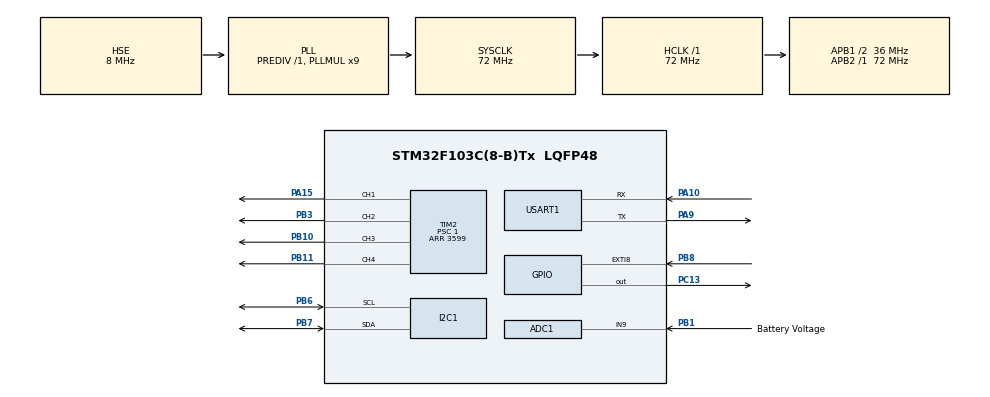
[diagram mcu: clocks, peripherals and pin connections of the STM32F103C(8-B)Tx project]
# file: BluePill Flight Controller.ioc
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Mcu.Family=STM32F1
RCC.PLLSourceVirtual=RCC_PLLSOURCE_HSE
ADC1.AWD1LowThreshold=2923
NVIC.ADC1_2_IRQn=true\:0\:0\:false\:false\:true\:true\:true
TIM2.Channel-PWM\ Generation4\ CH4=TIM_CHANNEL_4
PD1-OSC_OUT.Mode=HSE-External-Oscillator
PA10.Mode=Asynchronous
ADC1.ContinuousConvMode=ENABLE
PC13-TAMPER-RTC.Signal=GPIO_Output
PD0-OSC_IN.Signal=RCC_OSC_IN
TIM2.Channel-PWM\ Generation2\ CH2=TIM_CHANNEL_2
RCC.APB1CLKDivider=RCC_HCLK_DIV2
PB11.Signal=S_TIM2_CH4
RCC.SYSCLKSource=RCC_SYSCLKSOURCE_PLLCLK
ProjectManager.StackSize=0x400
PD1-OSC_OUT.Signal=RCC_OSC_OUT
RCC.ADCPresc=RCC_ADCPCLK2_DIV8
PA13.Signal=SYS_JTMS-SWDIO
SH.S_TIM2_CH2.0=TIM2_CH2,PWM Generation2 CH2
PA9.Mode=Asynchronous
ADC1.Channel-5\#ChannelRegularConversion=ADC_CHANNEL_9
ProjectManager.TargetToolchain=STM32CubeIDE
I2C1.I2C_Mode=I2C_Fast
RCC.HCLKFreq_Value=72000000
RCC.APB2TimFreq_Value=72000000
PA9.Signal=USART1_TX
PB6.Signal=I2C1_SCL
PB6.Mode=I2C
RCC.USBFreq_Value=72000000
RCC.AHBFreq_Value=72000000
PD0-OSC_IN.Mode=HSE-External-Oscillator
PB10.Signal=S_TIM2_CH3
board=custom
RCC.PLLMUL=RCC_PLL_MUL9
ADC1.EnableAnalogWatchDog=true
RCC.APB2Freq_Value=72000000
ADC1.AWD1ITMode=ENABLE
PC13-TAMPER-RTC.PinState=GPIO_PIN_RESET
ADC1.AWD1HighThreshold=4095
VP_TIM2_VS_ClockSourceINT.Mode=Internal
SH.S_TIM2_CH3.0=TIM2_CH3,PWM Generation3 CH3
PA14.Mode=Serial_Wire
PB1.GPIO_Label=Battery Voltage
TIM2.Channel-PWM\ Generation3\ CH3=TIM_CHANNEL_3
PB7.Signal=I2C1_SDA
TIM2.Channel-PWM\ Generation1\ CH1=TIM_CHANNEL_1
TIM2.Period=3599
PC13-TAMPER-RTC.GPIO_Speed=GPIO_SPEED_FREQ_LOW
ADC1.NbrOfConversion=1
PA13.Mode=Serial_Wire
Mcu.Name=STM32F103C(8-B)Tx
ADC1.ExternalTrigConv=ADC_SOFTWARE_START
PB3.Signal=S_TIM2_CH2
RCC.SYSCLKFreq_VALUE=72000000
PC13-TAMPER-RTC.GPIO_ModeDefaultOutputPP=GPIO_MODE_OUTPUT_PP
Mcu.Package=LQFP48
TIM2.Prescaler=1
PB1.Signal=ADCx_IN9
ADC1.master=1
NVIC.TimeBase=TIM4_IRQn
RCC.EnbaleCSS=true
PC13-TAMPER-RTC.GPIO_PuPd=GPIO_NOPULL
USART1.VirtualMode=VM_ASYNC
PB7.Mode=I2C
SH.S_TIM2_CH1_ETR.0=TIM2_CH1,PWM Generation1 CH1
NVIC.TimeBaseIP=TIM4
PA10.Signal=USART1_RX
PA14.Signal=SYS_JTCK-SWCLK
PA15.Signal=S_TIM2_CH1_ETR
ProjectManager.HeapSize=0x200
SH.S_TIM2_CH4.0=TIM2_CH4,PWM Generation4 CH4
VP_SYS_VS_tim4.Mode=TIM4
SH.ADCx_IN9.0=ADC1_IN9,IN9
ADC1.SamplingTime-5\#ChannelRegularConversion=ADC_SAMPLETIME_239CYCLES_5
ADC1.WatchdogChannel=ADC_CHANNEL_9
NVIC.PriorityGroup=NVIC_PRIORITYGROUP_4
ADC1.NbrOfConversionFlag=1
ADC1.EnableRegularConversion=ENABLE
RCC.APB1TimFreq_Value=72000000
PB8.Signal=GPXTI8
TIM2.AutoReloadPreload=TIM_AUTORELOAD_PRELOAD_ENABLE
NVIC.TIM4_IRQn=true\:0\:0\:false\:false\:true\:false\:true
RCC.APB1Freq_Value=36000000
ADC1.Rank-5\#ChannelRegularConversion=1

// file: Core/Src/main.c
/* USER CODE BEGIN Header */
/**
  ******************************************************************************
  * @file           : main.c
  * @brief          : Main program body
  ******************************************************************************
  * @attention
  *
  * <h2><center>&copy; Copyright (c) 2020 STMicroelectronics.
  * All rights reserved.</center></h2>
  *
  * This software component is licensed by ST under BSD 3-Clause license,
  * the "License"; You may not use this file except in compliance with the
  * License. You may obtain a copy of the License at:
  *                        opensource.org/licenses/BSD-3-Clause
  *
  ******************************************************************************
  */
/* USER CODE END Header */

#include "main.h"

/* USER CODE BEGIN Includes */
#include "MPU9250.h"
#include "mpu_porting_api.h"

#include "bmp280.h"
#include "bmp_porting_api.h"

//#define UART_DEBUGGING
#ifdef UART_DEBUGGING
#include <stdio.h>
#endif
/* USER CODE END Includes */

/* USER CODE BEGIN PTD */
struct control_variables {
	float p_c, i_c, d_c; 	// PID constants
	float output = 0, integral = 0, derivative = 0, bias = 0;
	float error = 0;
	float error_prior = 0, integral_prior = 0;
	float current_state, commanded_state = 0;
	uint8_t clamp;
};
/* USER CODE END PTD */

/* USER CODE BEGIN PD */
#define ALTP						(1)
#define ALTI						(0)
#define ALTD						(0)

#define YAWP						(1)
#define YAWI						(0)
#define YAWD						(0)

#define PITCHP					(1)
#define PITCHI					(0)
#define PITCHD					(0)

#define ROLLP						(1)
#define ROLLI						(0)
#define ROLLD						(0)
/* USER CODE END PD */

ADC_HandleTypeDef hadc1;

I2C_HandleTypeDef hi2c1;

TIM_HandleTypeDef htim2;

UART_HandleTypeDef huart1;

/* USER CODE BEGIN PV */
uint8_t battery_low = 0;
float battery_voltage;
/* USER CODE END PV */

void SystemClock_Config(void);
static void MX_GPIO_Init(void);
static void MX_TIM2_Init(void);
static void MX_I2C1_Init(void);
static void MX_USART1_UART_Init(void);
static void MX_ADC1_Init(void);
/* USER CODE BEGIN PFP */
void UpdateMotorSpeeds(struct control_variables *altitude, struct control_variables *yaw, struct control_variables *pitch, struct control_variables *roll);
void CalculatePIDControlOutput(struct control_variables *ctrl, int iteration_time);

void HAL_ADC_LevelOutOfWindowCallback(ADC_HandleTypeDef* hadc);
/* USER CODE END PFP */

/* USER CODE BEGIN 0 */
char log_buffer[128];
/* USER CODE END 0 */

int main(void)
{
  /* USER CODE BEGIN 1 */
	MPU9250 mpu9250;
  /* USER CODE END 1 */

  /* MCU Configuration--------------------------------------------------------*/

  /* Reset of all peripherals, Initializes the Flash interface and the Systick. */
  HAL_Init();

  /* Configure the system clock */
  SystemClock_Config();

  /* Initialize all configured peripherals */
  MX_GPIO_Init();
  MX_TIM2_Init();
  MX_I2C1_Init();
  MX_USART1_UART_Init();
  MX_ADC1_Init();
  /* USER CODE BEGIN 2 */

#ifdef UART_DEBUGGING
  sprintf(log_buffer, "Power on\r\n");
  ConsoleLog(log_buffer);
#endif
  HAL_Delay(1000);
  uint8_t whoami = mpu9250.readByte(MPU9250_ADDRESS, WHO_AM_I_MPU9250);  // Read WHO_AM_I register for MPU-9250

  if (whoami == 0x71)
  {
  	mpu9250.resetMPU9250();
		mpu9250.calibrateMPU9250(gyroBias, accelBias);
		wait(2);
		mpu9250.initMPU9250();
		mpu9250.initAK8963(magCalibration);
		wait(2);
  }
  else
  {
  	while(1);
  }

  mpu9250.getAres(); // Get accelerometer sensitivity
	mpu9250.getGres(); // Get gyro sensitivity
	mpu9250.getMres(); // Get magnetometer sensitivity
	magbias[0] = +470.;  // User environmental x-axis correction in milliGauss, should be automatically calculated
	magbias[1] = +120.;  // User environmental x-axis correction in milliGauss
	magbias[2] = +125.;  // User environmental x-axis correction in milliGauss

	struct bmp280_dev bmp;
	struct bmp280_config conf;
	struct bmp280_uncomp_data ucomp_data;
	float altitude, altitudeOffset;
	uint32_t pres32;
	int32_t temp;

	/* Map the delay function pointer with the function responsible for implementing the delay */
	bmp.delay_ms = BMP_delay_ms;

	/* Assign device I2C address based on the status of SDO pin (GND for PRIMARY(0x76) & VDD for SECONDARY(0x77)) */
	bmp.dev_id = BMP280_I2C_ADDR_PRIM << 1;

	/* Select the interface mode as I2C */
	bmp.intf = BMP280_I2C_INTF;

	/* Map the I2C read & write function pointer with the functions responsible for I2C bus transfer */
	bmp.read = BMP_i2c_reg_read;
	bmp.write = BMP_i2c_reg_write;

	bmp280_init(&bmp);

	/* Always read the current settings before writing, especially when
	 * all the configuration is not modified
	 */
	bmp280_get_config(&conf, &bmp);

	conf.filter = BMP280_FILTER_COEFF_16;
	conf.os_pres = BMP280_OS_16X;
	conf.os_temp = BMP280_OS_4X;
	conf.odr = BMP280_ODR_0_5_MS;

	bmp280_set_config(&conf, &bmp);
	bmp280_set_power_mode(BMP280_NORMAL_MODE, &bmp);

	altitudeOffset = 0.0;

	HAL_Delay(1000);

	// Determine the altitude offset
	for (int i = 0; i < 100; i ++)
	{
		bmp280_get_uncomp_data(&ucomp_data, &bmp);
		bmp280_get_comp_temp_32bit(&temp, ucomp_data.uncomp_temp, &bmp);
		bmp280_get_comp_pres_64bit(&pres32, ucomp_data.uncomp_press, &bmp);

		altitudeOffset += 44330 * (1.0 - pow((float)(pres32 >> 8) / 1006.1, 0.1903)) * 3.28084;
	}

	altitudeOffset /= 100;
  /* USER CODE END 2 */

  /* Infinite loop */
  /* USER CODE BEGIN WHILE */

	// PID pseudocode found in http://robotsforroboticists.com/pid-control/
	struct control_variables altitude_ctrl;
	struct control_variables yaw_ctrl;
	struct control_variables pitch_ctrl;
	struct control_variables roll_ctrl;

	// Altitude control init
	altitude_ctrl.p_c = ALTP;
	altitude_ctrl.i_c = ALTI;
	altitude_ctrl.d_c = ALTD;

	// Yaw control init
	yaw_ctrl.p_c = YAWP;
	yaw_ctrl.i_c = YAWI;
	yaw_ctrl.d_c = YAWD;

	// Pitch and roll control init
	pitch_ctrl.p_c = roll_ctrl.p_c = PITCHP;
	pitch_ctrl.i_c = roll_ctrl.i_c = PITCHI;
	pitch_ctrl.d_c = roll_ctrl.d_c = PITCHD;

  while (1)
  {
  	/* TODO:
  	 * This is a dummy command states. Implement a command_state gathering algorithm here.
  	 */
  	altitude_ctrl.commanded_state = yaw_ctrl.commanded_state = pitch_ctrl.commanded_state = roll_ctrl.commanded_state = 10;

  	if (battery_low)
  	{
#ifdef UART_DEBUGGING
			sprintf(log_buffer, "Starting powerdown sequence.\r\n");
			ConsoleLog(log_buffer);
#endif
  		// Set all commanded_state to zero
  		altitude_ctrl.commanded_state = yaw_ctrl.commanded_state = pitch_ctrl.commanded_state = roll_ctrl.commanded_state = 0;
  	}

  	if(mpu9250.readByte(MPU9250_ADDRESS, INT_STATUS) & 0x01)
  	{
  		mpu9250.readAccelData(accelCount);  // Read the x/y/z adc values
			// Now we'll calculate the accleration value into actual g's
			ax = (float)accelCount[0]*aRes - accelBias[0];  // get actual g value, this depends on scale being set
			ay = (float)accelCount[1]*aRes - accelBias[1];
			az = (float)accelCount[2]*aRes - accelBias[2];

			mpu9250.readGyroData(gyroCount);  // Read the x/y/z adc values
			// Calculate the gyro value into actual degrees per second
			gx = (float)gyroCount[0]*gRes - gyroBias[0];  // get actual gyro value, this depends on scale being set
			gy = (float)gyroCount[1]*gRes - gyroBias[1];
			gz = (float)gyroCount[2]*gRes - gyroBias[2];

			mpu9250.readMagData(magCount);  // Read the x/y/z adc values
			// Calculate the magnetometer values in milliGauss
			// Include factory calibration per data sheet and user environmental corrections
			mx = (float)magCount[0]*mRes*magCalibration[0] - magbias[0];  // get actual magnetometer value, this depends on scale being set
			my = (float)magCount[1]*mRes*magCalibration[1] - magbias[1];
			mz = (float)magCount[2]*mRes*magCalibration[2] - magbias[2];
  	}
  	else
  	{
  		continue;
  	}

  	mpu9250.MadgwickQuaternionUpdate(ax, ay, az, gx*PI/180.0f, gy*PI/180.0f, gz*PI/180.0f,  my,  mx, mz);

  	tempCount = mpu9250.readTempData();  // Read the adc values
  	temperature = ((float) tempCount) / 333.87f + 21.0f; // Temperature in degrees Centigrade

  	yaw   = atan2(2.0f * (q[1] * q[2] + q[0] * q[3]), q[0] * q[0] + q[1] * q[1] - q[2] * q[2] - q[3] * q[3]);
		pitch = -asin(2.0f * (q[1] * q[3] - q[0] * q[2]));
		roll  = atan2(2.0f * (q[0] * q[1] + q[2] * q[3]), q[0] * q[0] - q[1] * q[1] - q[2] * q[2] + q[3] * q[3]);
		pitch *= 180.0f / PI;
		yaw   *= 180.0f / PI;
		yaw   -= 13.8f; // Declination at Danville, California is 13 degrees 48 minutes and 47 seconds on 2014-04-04
		roll  *= 180.0f / PI;

		bmp280_get_uncomp_data(&ucomp_data, &bmp);
		bmp280_get_comp_temp_32bit(&temp, ucomp_data.uncomp_temp, &bmp);
		bmp280_get_comp_pres_64bit(&pres32, ucomp_data.uncomp_press, &bmp);

		altitude = (44330 * (1.0 - pow((float)(pres32 >> 8) / 1006.1, 0.1903)) * 3.28084) - altitudeOffset;

		// Update current_state's in control variables
		altitude_ctrl.current_state = altitude;
		yaw_ctrl.current_state = yaw;
		pitch_ctrl.current_state = pitch;
		roll_ctrl.current_state = roll;

		int iteration_time = 1;
		CalculatePIDControlOutput(&altitude_ctrl, iteration_time);
		CalculatePIDControlOutput(&yaw_ctrl, iteration_time);
		CalculatePIDControlOutput(&pitch_ctrl, iteration_time);
		CalculatePIDControlOutput(&roll_ctrl, iteration_time);

		UpdateMotorSpeeds(&altitude_ctrl, &yaw_ctrl, &pitch_ctrl, &roll_ctrl);

#ifdef UART_DEBUGGING
		sprintf((char*)log_buffer, "Altitude: %f\r\n", altitude);
		ConsoleLog((char*)log_buffer);

		battery_voltage = HAL_ADC_GetValue(&hadc1) * 0.001047542305;
		sprintf(log_buffer, "Battery voltage %f\r\n", battery_voltage);
		ConsoleLog(log_buffer);
#endif
    /* USER CODE END WHILE */

  }
}

void SystemClock_Config(void)
{
  RCC_OscInitTypeDef RCC_OscInitStruct = {0};
  RCC_ClkInitTypeDef RCC_ClkInitStruct = {0};
  RCC_PeriphCLKInitTypeDef PeriphClkInit = {0};

  /** Initializes the CPU, AHB and APB busses clocks
  */
  RCC_OscInitStruct.OscillatorType = RCC_OSCILLATORTYPE_HSE;
  RCC_OscInitStruct.HSEState = RCC_HSE_ON;
  RCC_OscInitStruct.HSEPredivValue = RCC_HSE_PREDIV_DIV1;
  RCC_OscInitStruct.HSIState = RCC_HSI_ON;
  RCC_OscInitStruct.PLL.PLLState = RCC_PLL_ON;
  RCC_OscInitStruct.PLL.PLLSource = RCC_PLLSOURCE_HSE;
  RCC_OscInitStruct.PLL.PLLMUL = RCC_PLL_MUL9;
  if (HAL_RCC_OscConfig(&RCC_OscInitStruct) != HAL_OK)
  {
    Error_Handler();
  }
  /** Initializes the CPU, AHB and APB busses clocks
  */
  RCC_ClkInitStruct.ClockType = RCC_CLOCKTYPE_HCLK|RCC_CLOCKTYPE_SYSCLK
                              |RCC_CLOCKTYPE_PCLK1|RCC_CLOCKTYPE_PCLK2;
  RCC_ClkInitStruct.SYSCLKSource = RCC_SYSCLKSOURCE_PLLCLK;
  RCC_ClkInitStruct.AHBCLKDivider = RCC_SYSCLK_DIV1;
  RCC_ClkInitStruct.APB1CLKDivider = RCC_HCLK_DIV2;
  RCC_ClkInitStruct.APB2CLKDivider = RCC_HCLK_DIV1;

  if (HAL_RCC_ClockConfig(&RCC_ClkInitStruct, FLASH_LATENCY_2) != HAL_OK)
  {
    Error_Handler();
  }
  PeriphClkInit.PeriphClockSelection = RCC_PERIPHCLK_ADC;
  PeriphClkInit.AdcClockSelection = RCC_ADCPCLK2_DIV8;
  if (HAL_RCCEx_PeriphCLKConfig(&PeriphClkInit) != HAL_OK)
  {
    Error_Handler();
  }
  /** Enables the Clock Security System
  */
  HAL_RCC_EnableCSS();
}

static void MX_ADC1_Init(void)
{

  ADC_AnalogWDGConfTypeDef AnalogWDGConfig = {0};
  ADC_ChannelConfTypeDef sConfig = {0};

  /** Common config
  */
  hadc1.Instance = ADC1;
  hadc1.Init.ScanConvMode = ADC_SCAN_DISABLE;
  hadc1.Init.ContinuousConvMode = ENABLE;
  hadc1.Init.DiscontinuousConvMode = DISABLE;
  hadc1.Init.ExternalTrigConv = ADC_SOFTWARE_START;
  hadc1.Init.DataAlign = ADC_DATAALIGN_RIGHT;
  hadc1.Init.NbrOfConversion = 1;
  if (HAL_ADC_Init(&hadc1) != HAL_OK)
  {
    Error_Handler();
  }
  /** Configure Analog WatchDog 1
  */
  AnalogWDGConfig.WatchdogMode = ADC_ANALOGWATCHDOG_SINGLE_REG;
  AnalogWDGConfig.HighThreshold = 4095;
  AnalogWDGConfig.LowThreshold = 2923;
  AnalogWDGConfig.Channel = ADC_CHANNEL_9;
  AnalogWDGConfig.ITMode = ENABLE;
  if (HAL_ADC_AnalogWDGConfig(&hadc1, &AnalogWDGConfig) != HAL_OK)
  {
    Error_Handler();
  }
  /** Configure Regular Channel
  */
  sConfig.Channel = ADC_CHANNEL_9;
  sConfig.Rank = ADC_REGULAR_RANK_1;
  sConfig.SamplingTime = ADC_SAMPLETIME_239CYCLES_5;
  if (HAL_ADC_ConfigChannel(&hadc1, &sConfig) != HAL_OK)
  {
    Error_Handler();
  }
  /* USER CODE BEGIN ADC1_Init 2 */
  HAL_ADC_Start(&hadc1);
	HAL_ADC_PollForConversion(&hadc1, HAL_MAX_DELAY);
  /* USER CODE END ADC1_Init 2 */

}

static void MX_I2C1_Init(void)
{

  hi2c1.Instance = I2C1;
  hi2c1.Init.ClockSpeed = 400000;
  hi2c1.Init.DutyCycle = I2C_DUTYCYCLE_2;
  hi2c1.Init.OwnAddress1 = 0;
  hi2c1.Init.AddressingMode = I2C_ADDRESSINGMODE_7BIT;
  hi2c1.Init.DualAddressMode = I2C_DUALADDRESS_DISABLE;
  hi2c1.Init.OwnAddress2 = 0;
  hi2c1.Init.GeneralCallMode = I2C_GENERALCALL_DISABLE;
  hi2c1.Init.NoStretchMode = I2C_NOSTRETCH_DISABLE;
  if (HAL_I2C_Init(&hi2c1) != HAL_OK)
  {
    Error_Handler();
  }

}

static void MX_TIM2_Init(void)
{

  TIM_ClockConfigTypeDef sClockSourceConfig = {0};
  TIM_MasterConfigTypeDef sMasterConfig = {0};
  TIM_OC_InitTypeDef sConfigOC = {0};

  htim2.Instance = TIM2;
  htim2.Init.Prescaler = 1;
  htim2.Init.CounterMode = TIM_COUNTERMODE_UP;
  htim2.Init.Period = 3599;
  htim2.Init.ClockDivision = TIM_CLOCKDIVISION_DIV1;
  htim2.Init.AutoReloadPreload = TIM_AUTORELOAD_PRELOAD_ENABLE;
  if (HAL_TIM_Base_Init(&htim2) != HAL_OK)
  {
    Error_Handler();
  }
  sClockSourceConfig.ClockSource = TIM_CLOCKSOURCE_INTERNAL;
  if (HAL_TIM_ConfigClockSource(&htim2, &sClockSourceConfig) != HAL_OK)
  {
    Error_Handler();
  }
  if (HAL_TIM_PWM_Init(&htim2) != HAL_OK)
  {
    Error_Handler();
  }
  sMasterConfig.MasterOutputTrigger = TIM_TRGO_RESET;
  sMasterConfig.MasterSlaveMode = TIM_MASTERSLAVEMODE_DISABLE;
  if (HAL_TIMEx_MasterConfigSynchronization(&htim2, &sMasterConfig) != HAL_OK)
  {
    Error_Handler();
  }
  sConfigOC.OCMode = TIM_OCMODE_PWM1;
  sConfigOC.Pulse = 0;
  sConfigOC.OCPolarity = TIM_OCPOLARITY_HIGH;
  sConfigOC.OCFastMode = TIM_OCFAST_DISABLE;
  if (HAL_TIM_PWM_ConfigChannel(&htim2, &sConfigOC, TIM_CHANNEL_1) != HAL_OK)
  {
    Error_Handler();
  }
  if (HAL_TIM_PWM_ConfigChannel(&htim2, &sConfigOC, TIM_CHANNEL_2) != HAL_OK)
  {
    Error_Handler();
  }
  if (HAL_TIM_PWM_ConfigChannel(&htim2, &sConfigOC, TIM_CHANNEL_3) != HAL_OK)
  {
    Error_Handler();
  }
  if (HAL_TIM_PWM_ConfigChannel(&htim2, &sConfigOC, TIM_CHANNEL_4) != HAL_OK)
  {
    Error_Handler();
  }
  /* USER CODE BEGIN TIM2_Init 2 */
  HAL_TIM_PWM_Start(&htim2, TIM_CHANNEL_1);
  HAL_TIM_PWM_Start(&htim2, TIM_CHANNEL_2);
  HAL_TIM_PWM_Start(&htim2, TIM_CHANNEL_3);
  HAL_TIM_PWM_Start(&htim2, TIM_CHANNEL_4);
  /* USER CODE END TIM2_Init 2 */
  HAL_TIM_MspPostInit(&htim2);

}

static void MX_USART1_UART_Init(void)
{

  /* USER CODE BEGIN USART1_Init 0 */
#ifdef UART_DEBUGGING
  /* USER CODE END USART1_Init 0 */

  huart1.Instance = USART1;
  huart1.Init.BaudRate = 115200;
  huart1.Init.WordLength = UART_WORDLENGTH_8B;
  huart1.Init.StopBits = UART_STOPBITS_1;
  huart1.Init.Parity = UART_PARITY_NONE;
  huart1.Init.Mode = UART_MODE_TX_RX;
  huart1.Init.HwFlowCtl = UART_HWCONTROL_NONE;
  huart1.Init.OverSampling = UART_OVERSAMPLING_16;
  if (HAL_UART_Init(&huart1) != HAL_OK)
  {
    Error_Handler();
  }
  /* USER CODE BEGIN USART1_Init 2 */
#endif
  /* USER CODE END USART1_Init 2 */

}

static void MX_GPIO_Init(void)
{
  GPIO_InitTypeDef GPIO_InitStruct = {0};

  /* GPIO Ports Clock Enable */
  __HAL_RCC_GPIOC_CLK_ENABLE();
  __HAL_RCC_GPIOD_CLK_ENABLE();
  __HAL_RCC_GPIOB_CLK_ENABLE();
  __HAL_RCC_GPIOA_CLK_ENABLE();

  /*Configure GPIO pin Output Level */
  HAL_GPIO_WritePin(GPIOC, GPIO_PIN_13, GPIO_PIN_RESET);

  /*Configure GPIO pin : PC13 */
  GPIO_InitStruct.Pin = GPIO_PIN_13;
  GPIO_InitStruct.Mode = GPIO_MODE_OUTPUT_PP;
  GPIO_InitStruct.Pull = GPIO_NOPULL;
  GPIO_InitStruct.Speed = GPIO_SPEED_FREQ_LOW;
  HAL_GPIO_Init(GPIOC, &GPIO_InitStruct);

  /*Configure GPIO pin : PB8 */
  GPIO_InitStruct.Pin = GPIO_PIN_8;
  GPIO_InitStruct.Mode = GPIO_MODE_IT_RISING;
  GPIO_InitStruct.Pull = GPIO_NOPULL;
  HAL_GPIO_Init(GPIOB, &GPIO_InitStruct);

}

/* USER CODE BEGIN 4 */
void UpdateMotorSpeeds(struct control_variables *altitude, struct control_variables *yaw, struct control_variables *pitch, struct control_variables *roll)
{
	/* TODO:
	 * Real motor mixing algorithm based on the drone geometry should be applied here.
	 * PID controls also have to be tuned and implemented.
	 * Over-current protection algorithm.
	 * Vertical thrust preservation - means increasing overall thrust to maintain height
	 * while pitching or rolling.
	 * Cap overall current draw.
	 * Cap individual motor voltage. Priority: thrust, roll, pitch, then yaw.
	 * Anti-windup for the integrator and low pass filter for the differentiator
	*/

	int thrust = altitude->output;
	float percentagePitch = pitch->output / 90 / 2;
	float percentageRoll = roll->output / 90 / 2;
	float percentageYaw = yaw->output / 90 / 2;
	percentageYaw = 0;

	float p1 = (1000 - thrust) * -1 * (percentagePitch - percentageYaw - percentageRoll) + thrust;
	float p2 = (1000 - thrust) * -1 * (percentageYaw + percentageRoll + percentagePitch) + thrust;
	float p3 = (1000 - thrust) * -1 * (percentageRoll - percentageYaw - percentagePitch) + thrust;
	float p4 = (1000 - thrust) * -1 * (percentageYaw - percentageRoll - percentagePitch) + thrust;

	// Propeller angular velocities cannot be nagative.
	htim2.Instance->CCR4 = p1 > 0 ? p1 : 0;
	htim2.Instance->CCR2 = p2 > 0 ? p2 : 0;
	htim2.Instance->CCR3 = p3 > 0 ? p3 : 0;
	htim2.Instance->CCR1 = p4 > 0 ? p4 : 0;
}

void CalculatePIDControlOutput(struct control_variables *ctrl, int iteration_time)
{
	/* TODO:
	 * Add derivative noise filter
	 * Implement integral clamping conditions
	 */
	ctrl->error = ctrl->commanded_state - ctrl->current_state;

	if (ctrl->clamp == 0)
		ctrl->integral = ctrl->integral_prior + ctrl->error * iteration_time;

	ctrl->derivative = (ctrl->error - ctrl->error_prior) / iteration_time;
	ctrl->output = (ctrl->p_c * ctrl->error) + (ctrl->i_c * ctrl->integral) + (ctrl->d_c * ctrl->derivative) + ctrl->bias;

	ctrl->error_prior = ctrl->error;
	ctrl->integral_prior = ctrl->integral;
}

void HAL_ADC_LevelOutOfWindowCallback(ADC_HandleTypeDef* hadc)
{
#ifdef UART_DEBUGGING
	/* TODO:
	 * Convert raw ADC value to voltage
	 */
	battery_voltage = HAL_ADC_GetValue(hadc) * 0.001047542305;
	sprintf(log_buffer, "Battery low %f\r\n", battery_voltage);
	ConsoleLog(log_buffer);
#endif

	battery_low = 1;
}
/* USER CODE END 4 */

 /**
  * @brief  Period elapsed callback in non blocking mode
  * @note   This function is called  when TIM4 interrupt took place, inside
  * HAL_TIM_IRQHandler(). It makes a direct call to HAL_IncTick() to increment
  * a global variable "uwTick" used as application time base.
  * @param  htim : TIM handle
  * @retval None
  */
void HAL_TIM_PeriodElapsedCallback(TIM_HandleTypeDef *htim)
{
  if (htim->Instance == TIM4) {
    HAL_IncTick();
  }
}

void Error_Handler(void)
{
}

/************************ (C) COPYRIGHT STMicroelectronics *****END OF FILE****/
